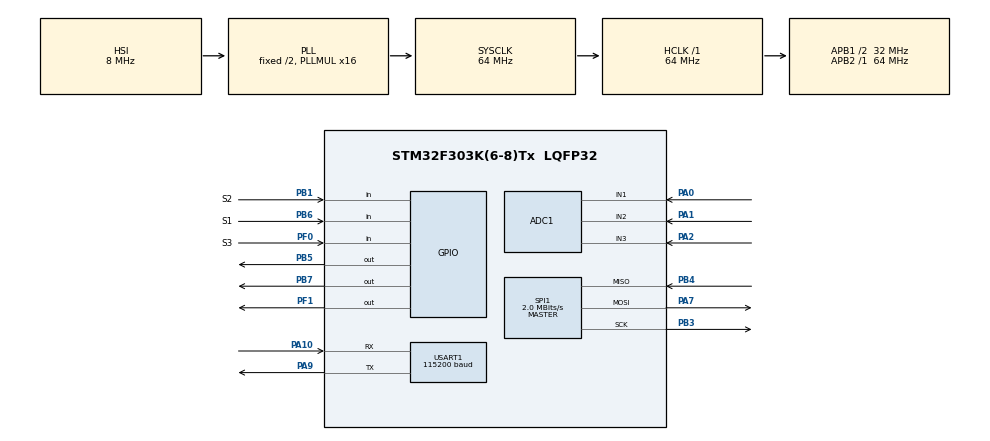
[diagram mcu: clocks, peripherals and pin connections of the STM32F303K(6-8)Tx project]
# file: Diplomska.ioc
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ADC1.Channel-4\#ChannelRegularConversion=ADC_CHANNEL_1
ADC1.Channel-5\#ChannelRegularConversion=ADC_CHANNEL_2
ADC1.Channel-6\#ChannelRegularConversion=ADC_CHANNEL_3
ADC1.ContinuousConvMode=DISABLE
ADC1.DMAContinuousRequests=ENABLE
ADC1.EnableRegularConversion=ENABLE
ADC1.NbrOfConversion=3
ADC1.NbrOfConversionFlag=1
ADC1.Offset-4\#ChannelRegularConversion=0
ADC1.Offset-5\#ChannelRegularConversion=0
ADC1.Offset-6\#ChannelRegularConversion=0
ADC1.OffsetNumber-4\#ChannelRegularConversion=ADC_OFFSET_NONE
ADC1.OffsetNumber-5\#ChannelRegularConversion=ADC_OFFSET_NONE
ADC1.OffsetNumber-6\#ChannelRegularConversion=ADC_OFFSET_NONE
ADC1.Rank-4\#ChannelRegularConversion=1
ADC1.Rank-5\#ChannelRegularConversion=2
ADC1.Rank-6\#ChannelRegularConversion=3
ADC1.SamplingTime-4\#ChannelRegularConversion=ADC_SAMPLETIME_19CYCLES_5
ADC1.SamplingTime-5\#ChannelRegularConversion=ADC_SAMPLETIME_19CYCLES_5
ADC1.SamplingTime-6\#ChannelRegularConversion=ADC_SAMPLETIME_1CYCLE_5
ADC1.SamplingTimeOPAMP-4\#ChannelRegularConversion=ADC_SAMPLETIME_61CYCLES_5
ADC1.SamplingTimeOPAMP-5\#ChannelRegularConversion=ADC_SAMPLETIME_61CYCLES_5
ADC1.SamplingTimeOPAMP-6\#ChannelRegularConversion=ADC_SAMPLETIME_61CYCLES_5
ADC1.SubFamily=STM32F303x8
ADC1.master=1
Dma.ADC1.0.Direction=DMA_PERIPH_TO_MEMORY
Dma.ADC1.0.Instance=DMA1_Channel1
Dma.ADC1.0.MemDataAlignment=DMA_MDATAALIGN_HALFWORD
Dma.ADC1.0.MemInc=DMA_MINC_ENABLE
Dma.ADC1.0.Mode=DMA_NORMAL
Dma.ADC1.0.PeriphDataAlignment=DMA_PDATAALIGN_HALFWORD
Dma.ADC1.0.PeriphInc=DMA_PINC_DISABLE
Dma.ADC1.0.Priority=DMA_PRIORITY_LOW
Dma.Request0=ADC1
Mcu.Family=STM32F3
Mcu.Name=STM32F303K(6-8)Tx
Mcu.Package=LQFP32
NVIC.DMA1_Channel1_IRQn=true\:0\:0\:false\:false\:true\:false\:true
NVIC.PriorityGroup=NVIC_PRIORITYGROUP_4
NVIC.RTC_Alarm_IRQn=true\:0\:0\:false\:false\:true\:true\:true
NVIC.TIM1_UP_TIM16_IRQn=true\:0\:0\:false\:false\:true\:false\:true
NVIC.TimeBase=TIM1_UP_TIM16_IRQn
NVIC.TimeBaseIP=TIM1
NVIC.USART1_IRQn=true\:0\:0\:false\:false\:true\:true\:true
PA0.Mode=IN1-Single-Ended
PA0.Signal=ADC1_IN1
PA1.Mode=IN2-Single-Ended
PA1.Signal=ADC1_IN2
PA10.Mode=Asynchronous
PA10.Signal=USART1_RX
PA2.Mode=IN3-Single-Ended
PA2.Signal=ADC1_IN3
PA7.Mode=Full_Duplex_Master
PA7.Signal=SPI1_MOSI
PA9.Mode=Asynchronous
PA9.Signal=USART1_TX
PB1.GPIO_Label=S2
PB1.Signal=GPIO_Input
PB3.Mode=Full_Duplex_Master
PB3.Signal=SPI1_SCK
PB4.Mode=Full_Duplex_Master
PB4.Signal=SPI1_MISO
PB5.GPIO_ModeDefaultOutputPP=GPIO_MODE_OUTPUT_PP
PB5.GPIO_PuPd=GPIO_NOPULL
PB5.GPIO_Speed=GPIO_SPEED_FREQ_LOW
PB5.PinState=GPIO_PIN_RESET
PB5.Signal=GPIO_Output
PB6.GPIO_Label=S1
PB6.Signal=GPIO_Input
PB7.GPIO_FM7=__NULL
PB7.GPIO_ModeDefaultOutputPP=GPIO_MODE_OUTPUT_PP
PB7.GPIO_PuPd=GPIO_NOPULL
PB7.GPIO_Speed=GPIO_SPEED_FREQ_LOW
PB7.PinState=GPIO_PIN_RESET
PB7.Signal=GPIO_Output
PF0\ /\ OSC_IN.GPIO_Label=S3
PF0\ /\ OSC_IN.Signal=GPIO_Input
PF1\ /\ OSC_OUT.Signal=GPIO_Output
ProjectManager.HeapSize=0x200
ProjectManager.StackSize=0x400
ProjectManager.TargetToolchain=STM32CubeIDE
RCC.AHBFreq_Value=64000000
RCC.APB1CLKDivider=RCC_HCLK_DIV2
RCC.APB1Freq_Value=32000000
RCC.APB1TimFreq_Value=64000000
RCC.APB2Freq_Value=64000000
RCC.APB2TimFreq_Value=64000000
RCC.CortexFreq_Value=64000000
RCC.HCLKFreq_Value=64000000
RCC.HSE_VALUE=8000000
RCC.HSI_VALUE=8000000
RCC.PLLMUL=RCC_PLL_MUL16
RCC.SYSCLKFreq_VALUE=64000000
RCC.SYSCLKSourceVirtual=RCC_SYSCLKSOURCE_PLLCLK
RTC.Alarm=RTC_ALARM_A
RTC.Format=RTC_FORMAT_BIN
SPI1.BaudRatePrescaler=SPI_BAUDRATEPRESCALER_32
SPI1.CalculateBaudRate=2.0 MBits/s
SPI1.DataSize=SPI_DATASIZE_8BIT
SPI1.Direction=SPI_DIRECTION_2LINES
SPI1.Mode=SPI_MODE_MASTER
SPI1.NSSPMode=SPI_NSS_PULSE_DISABLE
SPI1.VirtualType=VM_MASTER
TIM2.Period=0xffff-1
TIM2.Prescaler=64-1
USART1.BaudRate=115200
USART1.VirtualMode-Asynchronous=VM_ASYNC
VP_FATFS_VS_Generic.Mode=User_defined
VP_RTC_VS_RTC_Activate.Mode=RTC_Enabled
VP_RTC_VS_RTC_Alarm_A_Intern.Mode=Alarm A
VP_RTC_VS_RTC_Calendar.Mode=RTC_Calendar
VP_SYS_VS_tim1.Mode=TIM1
VP_TIM2_VS_ClockSourceINT.Mode=Internal
board=custom

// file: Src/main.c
/* USER CODE BEGIN Header */
/**
  ******************************************************************************
  * @file           : main.c
  * @brief          : Main program body
  ******************************************************************************
  * @attention
  *
  * <h2><center>&copy; Copyright (c) 2020 STMicroelectronics.
  * All rights reserved.</center></h2>
  *
  * This software component is licensed by ST under BSD 3-Clause license,
  * the "License"; You may not use this file except in compliance with the
  * License. You may obtain a copy of the License at:
  *                        opensource.org/licenses/BSD-3-Clause
  *
  ******************************************************************************
  */
/* USER CODE END Header */
#include "main.h"
#include "fatfs.h"

/* USER CODE BEGIN Includes */
#include "File_Handling_RTOS.h"
#include "MY_DHT.h"
#define DHT11_PORT GPIOB
#define DHT11_PIN GPIO_PIN_5

/* USER CODE END Includes */

ADC_HandleTypeDef hadc1;
DMA_HandleTypeDef hdma_adc1;

RTC_HandleTypeDef hrtc;

SPI_HandleTypeDef hspi1;

TIM_HandleTypeDef htim2;

UART_HandleTypeDef huart1;

void SystemClock_Config(void);
static void MX_GPIO_Init(void);
static void MX_DMA_Init(void);
static void MX_USART1_UART_Init(void);
static void MX_TIM2_Init(void);
static void MX_SPI1_Init(void);
static void MX_RTC_Init(void);
static void MX_ADC1_Init(void);

/* USER CODE BEGIN 0 */
GPIO_InitTypeDef GPIO_InitStruct;
RTC_TimeTypeDef time;
RTC_DateTypeDef date;

RTC_TimeTypeDef resetTime;
RTC_DateTypeDef resetDate;
RTC_AlarmTypeDef sAlarm1 = {0};

uint8_t prejeto[2048];
char SerialNo[] = "AU0001";
char Server[15];
char SSID[20];
char passwd[20];
char Time[5];
int branje = 0;
uint16_t data[3];
float temp = 0, hum = 0;

struct Sensors{
	uint8_t value;	//1 -> na voljo je ESP8266, 2->DHT11, 4-> DHT22, 8-> Co2, 16 -> O2, 32 -> C2H4, 64 -> S1, 128 -> S2.
	uint8_t wifi_status; //0 ni povezave, 1 je povezava.
} sensor;

void cardInit(){
	char buff[1];
	if(Mount_SD("/") == 1){

		uint8_t num = 0;
		uint8_t i = 0;
		uint8_t zamik = 0;

		if(open_file("config") == 0){
			while(Read_config_File("config", buff, 1, zamik) == 0){
				zamik++;
				if(buff[0] != ';'){
					switch(num){
						case 0:
							SSID[i++] = buff[0];
							break;
						case 1:
							passwd[i++] = buff[0];
							break;
						case 2:
							Server[i++] = buff[0];
							break;
						case 3:
							Time[i++] = buff[0];
							break;
					}
				}else{
					num++;
					i = 0;
					if(num >= 4){
						break;
					}
				}
			}
			close_file();
		}
		//Format_SD();
		Unmount_SD("/");
	}else{
		error();
	}
}

void alarmInit(){
	int seconds;

	resetTime.Hours = 0;
	resetTime.Minutes = 0;
	resetTime.Seconds = 0;
	resetTime.DayLightSaving = RTC_DAYLIGHTSAVING_NONE;
	resetTime.StoreOperation = RTC_STOREOPERATION_RESET;

	resetDate.WeekDay = RTC_WEEKDAY_MONDAY;
	resetDate.Month = RTC_MONTH_JANUARY;
	resetDate.Date = 1;
	resetDate.Year = 0;

	seconds = (atoi(Time) * 60) + (atoi(Time) * 60)/5;

	sAlarm1.AlarmTime.Hours = seconds/3600;
	sAlarm1.AlarmTime.Minutes = (seconds - sAlarm1.AlarmTime.Hours*60*60)/60;
	sAlarm1.AlarmTime.Seconds = seconds - sAlarm1.AlarmTime.Hours*60*60 - sAlarm1.AlarmTime.Minutes*60;
	sAlarm1.AlarmTime.SubSeconds = 0;
	sAlarm1.AlarmTime.DayLightSaving = RTC_DAYLIGHTSAVING_NONE;
	sAlarm1.AlarmTime.StoreOperation = RTC_STOREOPERATION_RESET;
	sAlarm1.AlarmMask = RTC_ALARMMASK_NONE;
	sAlarm1.AlarmSubSecondMask = RTC_ALARMSUBSECONDMASK_ALL;
	sAlarm1.AlarmDateWeekDaySel = RTC_ALARMDATEWEEKDAYSEL_DATE;
	sAlarm1.AlarmDateWeekDay = 1;
	sAlarm1.Alarm = RTC_ALARM_A;
}

void error(){
	for(;;){
		HAL_GPIO_TogglePin(GPIOB, GPIO_PIN_7);
		HAL_Delay(500);
	}
}

void done(){
	for(;;){
		HAL_GPIO_TogglePin(GPIOB, GPIO_PIN_7);
		HAL_Delay(2000);
	}
}

void HAL_RTC_AlarmAEventCallback(RTC_HandleTypeDef *hrtc){
	  //Branje senzorjev, ko bo možno.
	  branje=1;
	  HAL_RTC_SetTime(hrtc,&resetTime,RTC_FORMAT_BIN);
	  HAL_RTC_SetDate(hrtc, &resetDate, RTC_FORMAT_BIN);
	  HAL_RTC_SetAlarm_IT(hrtc, &sAlarm1, RTC_FORMAT_BIN);
}

void sendUART(char *text, uint16_t length, char *received, uint16_t rec_length, uint16_t delay){
	  HAL_UART_Transmit(&huart1, text, length, delay);
	  HAL_UART_Receive(&huart1, prejeto, rec_length, delay);
}

void sendHTTP(char *addr, char *payload){
	  char buff[200];
	  char buff2[20];
	  if(payload[0] != '\0')
	  sprintf(buff,"POST %s HTTP/1.1\r\nHost: %s\r\nContent-Type: application/x-www-form-urlencoded\r\nContent-Length:%d\r\n\r\n%s\r\n",addr,Server,strlen(payload),payload);
	  sprintf(buff2,"AT+CIPSEND=%d\r\n",strlen(buff));
	  sprintf(payload,"AT+CIPSTART=\"TCP\",\"%s\",80\r\n",Server);
	  sendUART(payload, strlen(payload), prejeto, sizeof(prejeto), 1000);
	  HAL_Delay(1000);
	  sendUART(buff2, strlen(buff2), prejeto, sizeof(prejeto), 1000);
	  HAL_Delay(1000);
	  sendUART(buff, strlen(buff), prejeto, sizeof(prejeto), 2000);
	  HAL_Delay(1000);
	  sendUART("AT+CIPCLOSE\r\n",13,prejeto, sizeof(prejeto),1000);
}

/* USER CODE END 0 */

int main(void)
{

  /* MCU Configuration--------------------------------------------------------*/

  /* Reset of all peripherals, Initializes the Flash interface and the Systick. */
  HAL_Init();

  /* Configure the system clock */
  SystemClock_Config();

  /* Initialize all configured peripherals */
  MX_GPIO_Init();
  MX_DMA_Init();
  MX_USART1_UART_Init();
  MX_TIM2_Init();
  MX_SPI1_Init();
  MX_FATFS_Init();
  MX_RTC_Init();
  MX_ADC1_Init();
  /* USER CODE BEGIN 2 */
  HAL_TIM_Base_Start(&htim2);

  DHT_Start (22);
  if(DHT_Check_Response() != 1){
	  DHT_Start (11);
	  if(DHT_Check_Response() == 1){
		  sensor.value = (sensor.value | 2);
	  }
  }else{
	  sensor.value = (sensor.value | 4);
  }

  cardInit();

  if(HAL_GPIO_ReadPin(GPIOF, GPIO_PIN_0)){
	  sensor.value = sensor.value | 32;
  }

  if(HAL_GPIO_ReadPin(GPIOB, GPIO_PIN_1)){
	  sensor.value = sensor.value | 16;
  }

  if(HAL_GPIO_ReadPin(GPIOB, GPIO_PIN_6)){
	  sensor.value = sensor.value | 8;
  }
  alarmInit();
  char payload[70];

  //Odziv senzorja
  sendUART("AT\r\n", 4, prejeto, sizeof(prejeto), 400);

  if(prejeto[6] == 'O' && prejeto[7] == 'K'){
	  //Če je esp8266 priključen pošljemo na bazo podatke.
	  sensor.value = (sensor.value | 1);

	  HAL_Delay(500);

	  sendUART("AT+CWMODE=1\r\n", 13, prejeto, sizeof(prejeto), 500);
	  HAL_Delay(500);

	  sprintf(payload,"AT+CWJAP=\"%s\",\"%s\"\r\n",SSID,passwd);
	  sendUART(payload, strlen(payload), prejeto, sizeof(prejeto), 10000);
	  int indeks = strlen(prejeto)-14;
	  for(int i=0; i < strlen(prejeto); i++){
		  if(prejeto[indeks] == 'G' && prejeto[indeks+1] == 'O' && prejeto[indeks+2] == 'T'){
			  sensor.wifi_status = 1;
			  break;
		  }
	  }

	  HAL_Delay(500);
	  if(sensor.wifi_status == 1 && (sensor.value & 1) == 1){
		  sprintf(payload,"SerialNo=%s&sensors=%03d",SerialNo,sensor.value);
		  sendHTTP("/register", payload);
		  if(prejeto[49] != '2' || prejeto[50] != '0' || (prejeto[51] != '1' && prejeto[51] != '0')){
			error();
		  }
	  }else if((sensor.value & 1) == 1){
		  error();
	  }
  }
  uint8_t aktiven = 0;
  while(HAL_ADCEx_Calibration_Start(&hadc1, ADC_SINGLE_ENDED) != HAL_OK){
	  __NOP();
	  HAL_GPIO_WritePin(GPIOB, GPIO_PIN_7, GPIO_PIN_SET);
  }
  HAL_Delay(200);
  HAL_GPIO_WritePin(GPIOB, GPIO_PIN_7, GPIO_PIN_RESET);

  /* USER CODE END 2 */

  /* Infinite loop */
  /* USER CODE BEGIN WHILE */
  while (1)
  {
	if(branje){
		//Če je branje potem beri...
		HAL_ADC_Start_DMA(&hadc1, data, sizeof(data));
		DHT_Get_Data(&temp, &hum, sensor.value);
		branje = 0;
		HAL_RTC_SetAlarm_IT(&hrtc, &sAlarm1, RTC_FORMAT_BIN);
		memset(payload,0,50);
		sprintf(payload,"SerialNo=%s&S3=%d&S2=%d&S1=%d&RH=%5.2f&T=%5.2f",SerialNo,data[0],data[1],data[2],hum,temp);
	 	sendHTTP("/index",payload);
	 	if(prejeto[49] == '2' && prejeto[50] == '0' && prejeto[51] == '0'){
	 		done();
	 	}else if(prejeto[49] != '2' || prejeto[50] != '0' || prejeto[51] != '1'){
			error();
		}
	}else if(!aktiven){
		memset(payload,0,50);
		memset(prejeto,0,500);
		sprintf(payload,"SerialNo=%s",SerialNo);
		sendHTTP("/check",payload);
		if(prejeto[219] == '/' && prejeto[220] != '/' && prejeto[221] != '/' && prejeto[222] == '/'){
			for(int i = 220; i < 222; i++){
				Time[i-220] = prejeto[i];
			}
			aktiven = 1;
			branje = 1;
			alarmInit();
		}else{
			//Med preverjanji.
			HAL_Delay(30000);
		}
	}
	HAL_Delay(500);

    /* USER CODE END WHILE */

  }
}

void SystemClock_Config(void)
{
  RCC_OscInitTypeDef RCC_OscInitStruct = {0};
  RCC_ClkInitTypeDef RCC_ClkInitStruct = {0};
  RCC_PeriphCLKInitTypeDef PeriphClkInit = {0};

  /** Initializes the RCC Oscillators according to the specified parameters
  * in the RCC_OscInitTypeDef structure.
  */
  RCC_OscInitStruct.OscillatorType = RCC_OSCILLATORTYPE_HSI|RCC_OSCILLATORTYPE_LSI;
  RCC_OscInitStruct.HSIState = RCC_HSI_ON;
  RCC_OscInitStruct.HSICalibrationValue = RCC_HSICALIBRATION_DEFAULT;
  RCC_OscInitStruct.LSIState = RCC_LSI_ON;
  RCC_OscInitStruct.PLL.PLLState = RCC_PLL_ON;
  RCC_OscInitStruct.PLL.PLLSource = RCC_PLLSOURCE_HSI;
  RCC_OscInitStruct.PLL.PLLMUL = RCC_PLL_MUL16;
  if (HAL_RCC_OscConfig(&RCC_OscInitStruct) != HAL_OK)
  {
    Error_Handler();
  }
  /** Initializes the CPU, AHB and APB buses clocks
  */
  RCC_ClkInitStruct.ClockType = RCC_CLOCKTYPE_HCLK|RCC_CLOCKTYPE_SYSCLK
                              |RCC_CLOCKTYPE_PCLK1|RCC_CLOCKTYPE_PCLK2;
  RCC_ClkInitStruct.SYSCLKSource = RCC_SYSCLKSOURCE_PLLCLK;
  RCC_ClkInitStruct.AHBCLKDivider = RCC_SYSCLK_DIV1;
  RCC_ClkInitStruct.APB1CLKDivider = RCC_HCLK_DIV2;
  RCC_ClkInitStruct.APB2CLKDivider = RCC_HCLK_DIV1;

  if (HAL_RCC_ClockConfig(&RCC_ClkInitStruct, FLASH_LATENCY_2) != HAL_OK)
  {
    Error_Handler();
  }
  PeriphClkInit.PeriphClockSelection = RCC_PERIPHCLK_USART1|RCC_PERIPHCLK_RTC
                              |RCC_PERIPHCLK_ADC12;
  PeriphClkInit.Usart1ClockSelection = RCC_USART1CLKSOURCE_PCLK1;
  PeriphClkInit.Adc12ClockSelection = RCC_ADC12PLLCLK_DIV1;
  PeriphClkInit.RTCClockSelection = RCC_RTCCLKSOURCE_LSI;
  if (HAL_RCCEx_PeriphCLKConfig(&PeriphClkInit) != HAL_OK)
  {
    Error_Handler();
  }
}

static void MX_ADC1_Init(void)
{

  ADC_MultiModeTypeDef multimode = {0};
  ADC_ChannelConfTypeDef sConfig = {0};

  /** Common config
  */
  hadc1.Instance = ADC1;
  hadc1.Init.ClockPrescaler = ADC_CLOCK_ASYNC_DIV1;
  hadc1.Init.Resolution = ADC_RESOLUTION_12B;
  hadc1.Init.ScanConvMode = ADC_SCAN_ENABLE;
  hadc1.Init.ContinuousConvMode = DISABLE;
  hadc1.Init.DiscontinuousConvMode = DISABLE;
  hadc1.Init.ExternalTrigConvEdge = ADC_EXTERNALTRIGCONVEDGE_NONE;
  hadc1.Init.ExternalTrigConv = ADC_SOFTWARE_START;
  hadc1.Init.DataAlign = ADC_DATAALIGN_RIGHT;
  hadc1.Init.NbrOfConversion = 3;
  hadc1.Init.DMAContinuousRequests = ENABLE;
  hadc1.Init.EOCSelection = ADC_EOC_SINGLE_CONV;
  hadc1.Init.LowPowerAutoWait = DISABLE;
  hadc1.Init.Overrun = ADC_OVR_DATA_OVERWRITTEN;
  if (HAL_ADC_Init(&hadc1) != HAL_OK)
  {
    Error_Handler();
  }
  /** Configure the ADC multi-mode
  */
  multimode.Mode = ADC_MODE_INDEPENDENT;
  if (HAL_ADCEx_MultiModeConfigChannel(&hadc1, &multimode) != HAL_OK)
  {
    Error_Handler();
  }
  /** Configure Regular Channel
  */
  sConfig.Channel = ADC_CHANNEL_1;
  sConfig.Rank = ADC_REGULAR_RANK_1;
  sConfig.SingleDiff = ADC_SINGLE_ENDED;
  sConfig.SamplingTime = ADC_SAMPLETIME_19CYCLES_5;
  sConfig.OffsetNumber = ADC_OFFSET_NONE;
  sConfig.Offset = 0;
  if (HAL_ADC_ConfigChannel(&hadc1, &sConfig) != HAL_OK)
  {
    Error_Handler();
  }
  /** Configure Regular Channel
  */
  sConfig.Channel = ADC_CHANNEL_2;
  sConfig.Rank = ADC_REGULAR_RANK_2;
  if (HAL_ADC_ConfigChannel(&hadc1, &sConfig) != HAL_OK)
  {
    Error_Handler();
  }
  /** Configure Regular Channel
  */
  sConfig.Channel = ADC_CHANNEL_3;
  sConfig.Rank = ADC_REGULAR_RANK_3;
  sConfig.SamplingTime = ADC_SAMPLETIME_1CYCLE_5;
  if (HAL_ADC_ConfigChannel(&hadc1, &sConfig) != HAL_OK)
  {
    Error_Handler();
  }

}

static void MX_RTC_Init(void)
{

  RTC_TimeTypeDef sTime = {0};
  RTC_DateTypeDef sDate = {0};
  RTC_AlarmTypeDef sAlarm = {0};

  /** Initialize RTC Only
  */
  hrtc.Instance = RTC;
  hrtc.Init.HourFormat = RTC_HOURFORMAT_24;
  hrtc.Init.AsynchPrediv = 127;
  hrtc.Init.SynchPrediv = 255;
  hrtc.Init.OutPut = RTC_OUTPUT_DISABLE;
  hrtc.Init.OutPutPolarity = RTC_OUTPUT_POLARITY_HIGH;
  hrtc.Init.OutPutType = RTC_OUTPUT_TYPE_OPENDRAIN;
  if (HAL_RTC_Init(&hrtc) != HAL_OK)
  {
    Error_Handler();
  }

  /** Initialize RTC and set the Time and Date
  */
  sTime.Hours = 0;
  sTime.Minutes = 0;
  sTime.Seconds = 0;
  sTime.DayLightSaving = RTC_DAYLIGHTSAVING_NONE;
  sTime.StoreOperation = RTC_STOREOPERATION_RESET;
  if (HAL_RTC_SetTime(&hrtc, &sTime, RTC_FORMAT_BIN) != HAL_OK)
  {
    Error_Handler();
  }
  sDate.WeekDay = RTC_WEEKDAY_MONDAY;
  sDate.Month = RTC_MONTH_JANUARY;
  sDate.Date = 1;
  sDate.Year = 0;

  if (HAL_RTC_SetDate(&hrtc, &sDate, RTC_FORMAT_BIN) != HAL_OK)
  {
    Error_Handler();
  }
  /** Enable the Alarm A
  */
  sAlarm.AlarmTime.Hours = 0;
  sAlarm.AlarmTime.Minutes = 0;
  sAlarm.AlarmTime.Seconds = 0;
  sAlarm.AlarmTime.SubSeconds = 0;
  sAlarm.AlarmTime.DayLightSaving = RTC_DAYLIGHTSAVING_NONE;
  sAlarm.AlarmTime.StoreOperation = RTC_STOREOPERATION_RESET;
  sAlarm.AlarmMask = RTC_ALARMMASK_NONE;
  sAlarm.AlarmSubSecondMask = RTC_ALARMSUBSECONDMASK_ALL;
  sAlarm.AlarmDateWeekDaySel = RTC_ALARMDATEWEEKDAYSEL_DATE;
  sAlarm.AlarmDateWeekDay = 1;
  sAlarm.Alarm = RTC_ALARM_A;
  if (HAL_RTC_SetAlarm_IT(&hrtc, &sAlarm, RTC_FORMAT_BIN) != HAL_OK)
  {
    Error_Handler();
  }

}

static void MX_SPI1_Init(void)
{

  /* SPI1 parameter configuration*/
  hspi1.Instance = SPI1;
  hspi1.Init.Mode = SPI_MODE_MASTER;
  hspi1.Init.Direction = SPI_DIRECTION_2LINES;
  hspi1.Init.DataSize = SPI_DATASIZE_8BIT;
  hspi1.Init.CLKPolarity = SPI_POLARITY_LOW;
  hspi1.Init.CLKPhase = SPI_PHASE_1EDGE;
  hspi1.Init.NSS = SPI_NSS_SOFT;
  hspi1.Init.BaudRatePrescaler = SPI_BAUDRATEPRESCALER_32;
  hspi1.Init.FirstBit = SPI_FIRSTBIT_MSB;
  hspi1.Init.TIMode = SPI_TIMODE_DISABLE;
  hspi1.Init.CRCCalculation = SPI_CRCCALCULATION_DISABLE;
  hspi1.Init.CRCPolynomial = 7;
  hspi1.Init.CRCLength = SPI_CRC_LENGTH_DATASIZE;
  hspi1.Init.NSSPMode = SPI_NSS_PULSE_DISABLE;
  if (HAL_SPI_Init(&hspi1) != HAL_OK)
  {
    Error_Handler();
  }

}

static void MX_TIM2_Init(void)
{

  TIM_ClockConfigTypeDef sClockSourceConfig = {0};
  TIM_MasterConfigTypeDef sMasterConfig = {0};

  htim2.Instance = TIM2;
  htim2.Init.Prescaler = 64-1;
  htim2.Init.CounterMode = TIM_COUNTERMODE_UP;
  htim2.Init.Period = 0xffff-1;
  htim2.Init.ClockDivision = TIM_CLOCKDIVISION_DIV1;
  htim2.Init.AutoReloadPreload = TIM_AUTORELOAD_PRELOAD_DISABLE;
  if (HAL_TIM_Base_Init(&htim2) != HAL_OK)
  {
    Error_Handler();
  }
  sClockSourceConfig.ClockSource = TIM_CLOCKSOURCE_INTERNAL;
  if (HAL_TIM_ConfigClockSource(&htim2, &sClockSourceConfig) != HAL_OK)
  {
    Error_Handler();
  }
  sMasterConfig.MasterOutputTrigger = TIM_TRGO_RESET;
  sMasterConfig.MasterSlaveMode = TIM_MASTERSLAVEMODE_DISABLE;
  if (HAL_TIMEx_MasterConfigSynchronization(&htim2, &sMasterConfig) != HAL_OK)
  {
    Error_Handler();
  }

}

static void MX_USART1_UART_Init(void)
{

  huart1.Instance = USART1;
  huart1.Init.BaudRate = 115200;
  huart1.Init.WordLength = UART_WORDLENGTH_8B;
  huart1.Init.StopBits = UART_STOPBITS_1;
  huart1.Init.Parity = UART_PARITY_NONE;
  huart1.Init.Mode = UART_MODE_TX_RX;
  huart1.Init.HwFlowCtl = UART_HWCONTROL_NONE;
  huart1.Init.OverSampling = UART_OVERSAMPLING_16;
  huart1.Init.OneBitSampling = UART_ONE_BIT_SAMPLE_DISABLE;
  huart1.AdvancedInit.AdvFeatureInit = UART_ADVFEATURE_NO_INIT;
  if (HAL_UART_Init(&huart1) != HAL_OK)
  {
    Error_Handler();
  }

}

static void MX_DMA_Init(void)
{

  /* DMA controller clock enable */
  __HAL_RCC_DMA1_CLK_ENABLE();

  /* DMA interrupt init */
  /* DMA1_Channel1_IRQn interrupt configuration */
  HAL_NVIC_SetPriority(DMA1_Channel1_IRQn, 0, 0);
  HAL_NVIC_EnableIRQ(DMA1_Channel1_IRQn);

}

static void MX_GPIO_Init(void)
{
  GPIO_InitTypeDef GPIO_InitStruct = {0};

  /* GPIO Ports Clock Enable */
  __HAL_RCC_GPIOF_CLK_ENABLE();
  __HAL_RCC_GPIOA_CLK_ENABLE();
  __HAL_RCC_GPIOB_CLK_ENABLE();

  /*Configure GPIO pin Output Level */
  HAL_GPIO_WritePin(GPIOF, GPIO_PIN_1, GPIO_PIN_RESET);

  /*Configure GPIO pin Output Level */
  HAL_GPIO_WritePin(GPIOB, GPIO_PIN_5|GPIO_PIN_7, GPIO_PIN_RESET);

  /*Configure GPIO pin : S3_Pin */
  GPIO_InitStruct.Pin = S3_Pin;
  GPIO_InitStruct.Mode = GPIO_MODE_INPUT;
  GPIO_InitStruct.Pull = GPIO_NOPULL;
  HAL_GPIO_Init(S3_GPIO_Port, &GPIO_InitStruct);

  /*Configure GPIO pin : PF1 */
  GPIO_InitStruct.Pin = GPIO_PIN_1;
  GPIO_InitStruct.Mode = GPIO_MODE_OUTPUT_PP;
  GPIO_InitStruct.Pull = GPIO_NOPULL;
  GPIO_InitStruct.Speed = GPIO_SPEED_FREQ_LOW;
  HAL_GPIO_Init(GPIOF, &GPIO_InitStruct);

  /*Configure GPIO pins : S2_Pin S1_Pin */
  GPIO_InitStruct.Pin = S2_Pin|S1_Pin;
  GPIO_InitStruct.Mode = GPIO_MODE_INPUT;
  GPIO_InitStruct.Pull = GPIO_NOPULL;
  HAL_GPIO_Init(GPIOB, &GPIO_InitStruct);

  /*Configure GPIO pins : PB5 PB7 */
  GPIO_InitStruct.Pin = GPIO_PIN_5|GPIO_PIN_7;
  GPIO_InitStruct.Mode = GPIO_MODE_OUTPUT_PP;
  GPIO_InitStruct.Pull = GPIO_NOPULL;
  GPIO_InitStruct.Speed = GPIO_SPEED_FREQ_LOW;
  HAL_GPIO_Init(GPIOB, &GPIO_InitStruct);

}

void HAL_TIM_PeriodElapsedCallback(TIM_HandleTypeDef *htim)
{
  if (htim->Instance == TIM1) {
    HAL_IncTick();
  }
}

void Error_Handler(void)
{
}

/************************ (C) COPYRIGHT STMicroelectronics *****END OF FILE****/
